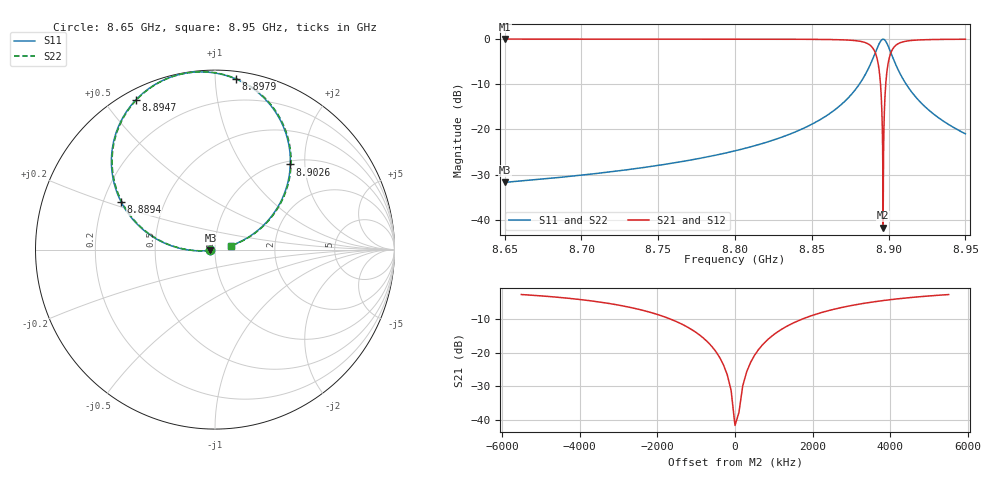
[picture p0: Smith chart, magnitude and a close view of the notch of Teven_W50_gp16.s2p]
! Sonnet Data File
! From: emgraph Version : 16.52
! From Project: transmon_trial
! Data is De-embedded
! Data File Written: 10/20/2017 09:13:08
!< HDATE 10/19/2017 20:03:37
!< MDATE 10/19/2017 20:10:25
!< PARAMS
!< Lj = 15.24
!< Gap = 16.0
!< Width = 50.0
!< Airgap = 30.0
!< Pwidth = 2000.0
!< END PARAMS
# GHZ S MA R 51.00000
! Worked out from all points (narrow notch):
!   3001 points, 8.65 GHz to 8.95 GHz, reference 51 ohm
!   highest |S21| = 0.00 dB at 8.65 GHz (marker M1); lowest = -41.8 dB at 8.8964 GHz (marker M2)
!   notch at M2: 41.7 dB deep, 927 kHz wide at half that depth
!   lowest |S11| = -31.7 dB at 8.65 GHz (marker M3), VSWR 1.05, Z = 48.5 - j0.415 ohm
!   |S11| at or under -10 dB: start of sweep to 8.8809 GHz; 8.911452 GHz to end of sweep
!   |S22| runs from -31.7 to 0.0 dB; largest |S21 - S12| = 0
!   S11 on the Smith chart (normalised r, x): 8.65 GHz: 0.95, -0.01; 8.8894 GHz: 0.27, +0.22; 8.8947 GHz: 0.04, +0.60; 8.8979 GHz: 0.05, +1.13; 8.9026 GHz: 1.07, +1.69; 8.95 GHz: 1.19, +0.05
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8.65  0.0259 -170.5  0.9997 -80.4  0.9997 -80.4  0.0259 -170.2
!< P1 F=8.65 Eeff=(6.43962691 -3.1336e-5) Z0=(50.4019059 1.05256e-4) R=0.0 C=0.0
!< P2 F=8.65 Eeff=(6.43962691 -3.1336e-5) Z0=(50.4019059 1.05256e-4) R=0.0 C=0.0
8.7  0.03113 -171.2  0.9995 -81.1  0.9995 -81.1  0.03113 -171.1
8.75  0.03994 -172.1  0.9992 -82.1  0.9992 -82.1  0.03994 -172.1
8.8  0.05787 -173.5  0.9983 -83.6  0.9983 -83.6  0.05787 -173.7
8.85  0.114 -177.1  0.9934 -87.3  0.9934 -87.3  0.114 -177.4
8.8796  0.2936 172.1  0.9556 -98.1  0.9556 -98.1  0.2936 171.7
8.8855  0.4252 163.9  0.9044 -106.2  0.9044 -106.2  0.4252 163.5
8.8894  0.5877 153.0  0.8076 -117.1  0.8076 -117.1  0.5877 152.5
8.8929  0.8199 133.8  0.5684 -136.2  0.5684 -136.2  0.8199 133.3
8.894  0.8996 124.6  0.4302 -145.2  0.4302 -145.2  0.8996 124.1
8.8947  0.9435 117.9  0.3219 -151.8  0.3219 -151.8  0.9435 117.4
8.8954  0.9766 110.6  0.1991 -158.7  0.1991 -158.7  0.9766 110.1
8.8964  0.9965 99.5  0.008165 -145.6  0.008165 -145.6  0.9965 99.0
8.8973  0.9826 89.5  0.1668 -1.9  0.1668 -1.9  0.9826 89.0
8.8979  0.9579 83.1  0.2759 -7.9  0.2759 -7.9  0.9578 82.6
8.8986  0.9172 76.1  0.3909 -14.7  0.3909 -14.7  0.9172 75.6
8.9  0.8161 64.0  0.5738 -26.5  0.5738 -26.5  0.8161 63.5
8.9026  0.6332 48.5  0.7722 -41.9  0.7722 -41.9  0.6332 48.0
8.9072  0.4231 34.1  0.9054 -56.2  0.9054 -56.2  0.4231 33.6
8.9143  0.2691 24.6  0.9628 -65.7  0.9628 -65.7  0.2691 24.1
8.9294  0.1474 17.4  0.989 -73.0  0.989 -73.0  0.1474 16.7
8.95  0.08938 13.9  0.996 -76.5  0.996 -76.5  0.08938 13.1
